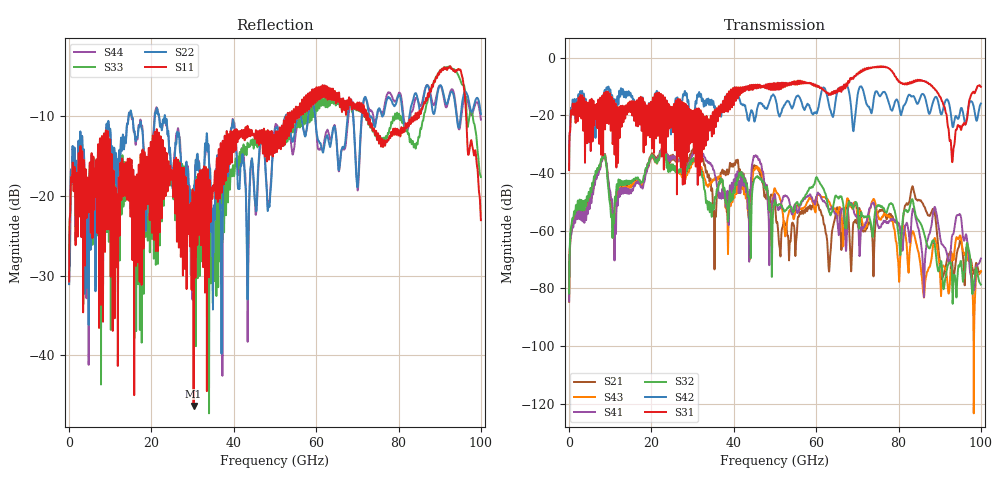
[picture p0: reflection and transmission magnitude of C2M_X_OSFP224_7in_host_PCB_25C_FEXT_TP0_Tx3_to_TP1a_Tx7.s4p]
# GHz S RI R 45
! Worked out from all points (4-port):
!   4000 points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, 25 MHz to 100 GHz, reference 45 ohm
!   strongest paths, dB at 25 MHz, 25.02 GHz, 50.02 GHz, 75.03 GHz, 100 GHz:
!     S31: -39.0, -17.2, -11.2, -3.4, -10.1
!     S42: -38.6, -21.8, -13.7, -12.6, -15.9
!     S32: -81.7, -38.8, -49.5, -51.1, -78.7
!     S41: -84.4, -35.2, -47.7, -58.2, -69.7
!     S43: -82.7, -38.2, -45.5, -54.8, -74.0
!     S21: -84.7, -35.4, -50.9, -53.5, -74.2
!   lowest |S11| = -46.4 dB at 30.25 GHz (marker M1), VSWR 1.01, Z = 45.4 - j0.0814 ohm
!   |S11| at or under -10 dB: start of sweep to 53.06 GHz; 72.56 GHz to 83.66 GHz (11.09 GHz wide, 14.2 % of centre); 96.43 GHz to end of sweep (the widest 3 of 14)
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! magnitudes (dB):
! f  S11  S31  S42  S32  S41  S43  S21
! 25 MHz  -30.8  -39.0  -38.6  -81.7  -84.4  -82.7  -84.7
! 8.3 GHz  -21.3  -25.5  -13.0  -33.7  -34.0  -33.8  -33.9
! 11.03 GHz  -24.9  -24.6  -15.6  -52.5  -66.5  -64.6  -59.3
! 30.25 GHz  -46.4  -25.9  -19.8  -34.8  -32.5  -35.7  -31.5
! 76.22 GHz  -13.8  -3.1  -12.0  -52.1  -57.4  -55.2  -53.1
! 93.17 GHz  -4.1  -34.9  -24.1  -84.1  -61.3  -69.0  -74.4
! 100 GHz  -23.0  -10.1  -15.9  -78.7  -69.7  -74.0  -74.2
